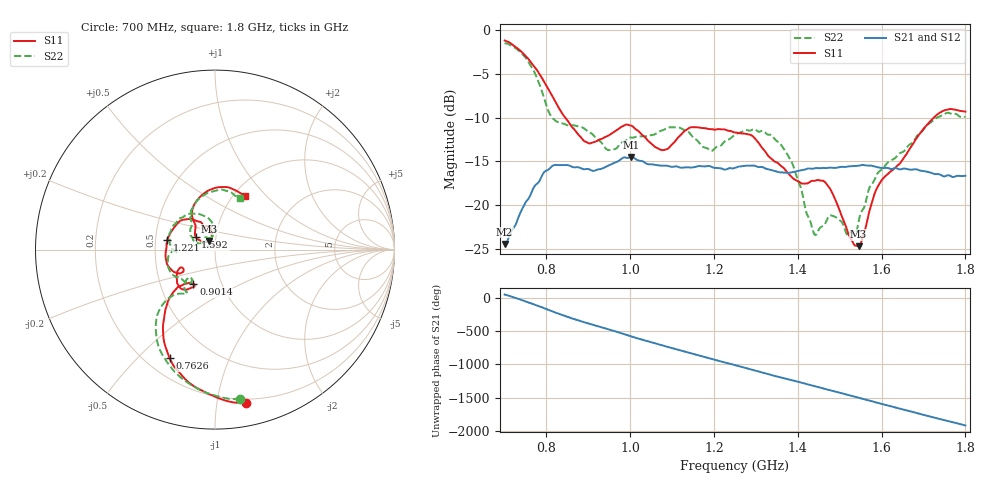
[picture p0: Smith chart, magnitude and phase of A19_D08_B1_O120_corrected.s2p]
! Created with skrf 1.9.0 (http://scikit-rf.org).
# Hz S RI R 50.0
!freq ReS11 ImS11 ReS21 ImS21 ReS12 ImS12 ReS22 ImS22
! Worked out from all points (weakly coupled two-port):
!   1601 points, 700 MHz to 1.8 GHz, reference 50 ohm
!   highest |S21| = -14.51 dB at 1.002 GHz (marker M1); lowest = -24.4 dB at 700 MHz (marker M2)
!   lowest |S11| = -24.7 dB at 1.545 GHz (marker M3), VSWR 1.12, Z = 46.7 + j4.53 ohm
!   |S11| at or under -10 dB: 844.8 MHz to 1.725 GHz (879.8 MHz wide, 68.5 % of centre)
!   |S22| runs from -23.4 to -1.5 dB; largest |S21 - S12| = 0.0037
!   S11 on the Smith chart (normalised r, x): 700 MHz: 0.17, -1.21; 762.6 MHz: 0.29, -0.63; 901.4 MHz: 0.73, -0.30; 1.221 GHz: 0.58, +0.07; 1.592 GHz: 0.80, +0.12; 1.8 GHz: 1.12, +0.76
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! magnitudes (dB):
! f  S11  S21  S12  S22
! 700 MHz  -1.2  -24.4  -24.2  -1.5
! 762.6 MHz  -3.7  -18.8  -18.7  -4.1
! 814.1 MHz  -7.6  -15.5  -15.6  -10.0
! 883.6 MHz  -12.3  -15.8  -15.7  -11.1
! 901.4 MHz  -12.9  -15.9  -15.9  -11.7
! 948.2 MHz  -12.0  -15.5  -15.5  -13.7
! 1.002 GHz  -10.9  -14.5  -14.6  -12.3
! 1.067 GHz  -13.5  -15.5  -15.4  -11.6
! 1.144 GHz  -11.1  -15.7  -15.7  -11.9
! 1.192 GHz  -11.3  -15.6  -15.6  -13.8
! 1.221 GHz  -11.3  -15.9  -15.9  -12.9
! 1.25 GHz  -11.7  -15.7  -15.7  -11.9
! 1.359 GHz  -15.5  -16.3  -16.2  -13.0
! 1.389 GHz  -17.0  -16.2  -16.2  -15.5
! 1.434 GHz  -17.2  -15.8  -15.8  -22.5
! 1.473 GHz  -17.9  -15.7  -15.8  -21.4
! 1.52 GHz  -23.2  -15.6  -15.6  -23.4
! 1.545 GHz  -24.7  -15.5  -15.5  -21.9
! 1.592 GHz  -17.8  -15.7  -15.7  -16.3
! 1.617 GHz  -16.3  -15.8  -15.8  -15.0
! 1.733 GHz  -9.6  -16.5  -16.5  -10.0
! 1.8 GHz  -9.3  -16.6  -16.6  -9.9
